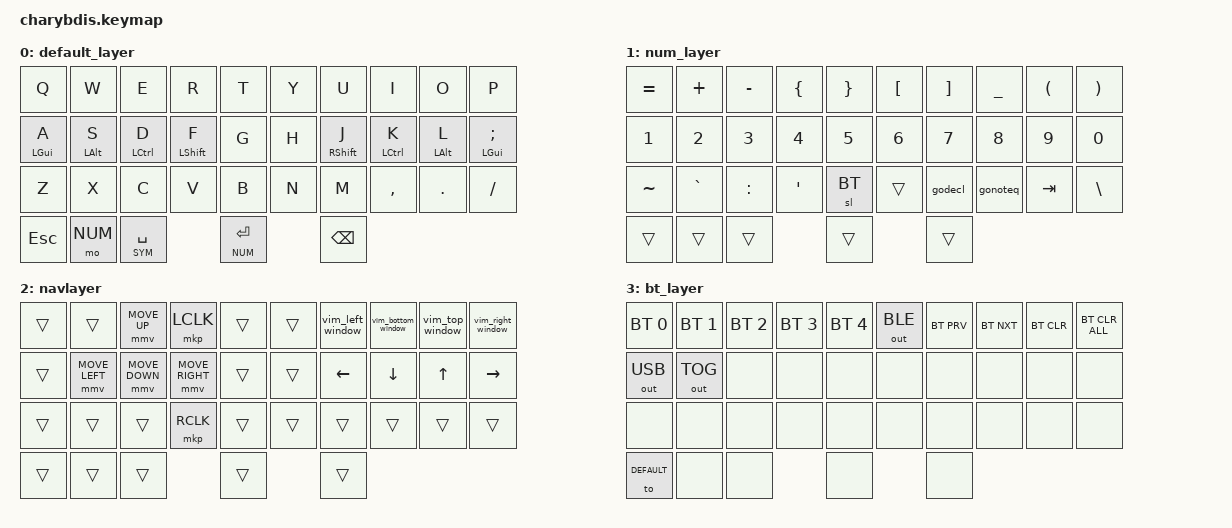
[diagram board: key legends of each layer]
#include <behaviors.dtsi>
#include <dt-bindings/zmk/keys.h>
#include <dt-bindings/zmk/mouse.h>
#include <dt-bindings/zmk/bt.h>
#include <dt-bindings/zmk/outputs.h>

#include "../include/zmk-helpers/key-labels/36.h"
#include "../include/zmk-helpers/helper.h"

#define DEFAULT 0
#define NUM 1
#define SYM 2
#define BT 3

#define QUICK_TAP_MS 175

/* Global defaults */

&sk {
    release-after-ms = <900>;
    quick-release;
};

&sl {
    /* Allow sticky mods to chord across sticky layers. */
    ignore-modifiers;
};

&lt {
    flavor = "balanced";
    tapping-term-ms = <200>;
    quick-tap-ms = <QUICK_TAP_MS>;
};

#define KEYS_L LT0 LT1 LT2 LT3 LT4 LM0 LM1 LM2 LM3 LM4 LB0 LB1 LB2 LB3 LB4
#define KEYS_R RT0 RT1 RT2 RT3 RT4 RM0 RM1 RM2 RM3 RM4 RB0 RB1 RB2 RB3 RB4
#define THUMBS LH2 LH1 LH0 RH0 RH1 RH2

#define MAKE_HRM(NAME, HOLD, TAP, TRIGGER_POS) \
    ZMK_HOLD_TAP(NAME, \
        bindings = <HOLD>, <TAP>; \
        flavor = "balanced"; \
        tapping-term-ms = <280>; \
        quick-tap-ms = <QUICK_TAP_MS>; \
        require-prior-idle-ms = <75>; \
        hold-trigger-on-release; \
        hold-trigger-key-positions = <TRIGGER_POS>; \
    )

MAKE_HRM(hml, &kp, &kp, KEYS_R THUMBS)
MAKE_HRM(hmr, &kp, &kp, KEYS_L THUMBS)

/* Hack: Make HRM combos tap-only. */
#define ZMK_COMBO_8(NAME, TAP, POS, LAYERS, COMBO_MS, IDLE_MS, HOLD, SIDE) \
    MAKE_HRM(hm_combo_##NAME, &kp, TAP, SIDE THUMBS) \
    ZMK_COMBO_6(NAME, &hm_combo_##NAME HOLD 0, POS, LAYERS, COMBO_MS, IDLE_MS)

&caps_word {
    continue-list = <BACKSPACE DELETE>;
};

/ {
    chosen {
        zmk,matrix_transform = &default_transform;
    };

    macros {
        godecl: godecl {
            compatible = "zmk,behavior-macro";
            #binding-cells = <0>;
            bindings = <&kp COLON &kp EQUAL>;
            label = "GODECL";
        };

        gonoteq: gonoteq {
            compatible = "zmk,behavior-macro";
            #binding-cells = <0>;
            bindings = <&kp EXCL &kp EQUAL>;
            label = "GONOTEQ";
        };

        vim_left_window: vim_left_window {
            compatible = "zmk,behavior-macro";
            #binding-cells = <0>;
            bindings =
                <&macro_press &kp LCTRL>,
                <&macro_tap &kp W>,
                <&macro_release &kp LCTRL>,
                <&macro_tap &kp LEFT_ARROW>;
            label = "VIM_LEFT_WINDOW";
        };

        vim_right_window: vim_right_window {
            compatible = "zmk,behavior-macro";
            #binding-cells = <0>;
            bindings =
                <&macro_press &kp LCTRL>,
                <&macro_tap &kp W>,
                <&macro_release &kp LCTRL>,
                <&macro_tap &kp RIGHT_ARROW>;
            label = "VIM_RIGHT_WINDOW";
        };

        vim_top_window: vim_top_window {
            compatible = "zmk,behavior-macro";
            #binding-cells = <0>;
            bindings =
                <&macro_press &kp LCTRL>,
                <&macro_tap &kp W>,
                <&macro_release &kp LCTRL>,
                <&macro_tap &kp UP_ARROW>;
            label = "VIM_TOP_WINDOW";
        };

        vim_bottom_window: vim_bottom_window {
            compatible = "zmk,behavior-macro";
            #binding-cells = <0>;
            bindings =
                <&macro_press &kp LCTRL>,
                <&macro_tap &kp W>,
                <&macro_release &kp LCTRL>,
                <&macro_tap &kp DOWN_ARROW>;
            label = "VIM_BOTTOM_WINDOW";
        };
    };

    keymap {
        compatible = "zmk,keymap";

        default_layer {
            bindings = <
                &kp Q        &kp W        &kp E        &kp R        &kp T        &kp Y        &kp U        &kp I        &kp O        &kp P
                &hml LGUI A  &hml LALT S  &hml LCTRL D &hml LSHFT F &kp G        &kp H        &hmr RSHFT J &hmr LCTRL K &hmr LALT L  &hmr LGUI SEMI
                &kp Z        &kp X        &kp C        &kp V        &kp B        &kp N        &kp M        &kp COMMA    &kp DOT      &kp FSLH
                &kp ESCAPE   &mo NUM      &lt SYM SPACE              &lt NUM ENTER              &kp BACKSPACE
            >;
        };

        num_layer {
            bindings = <
                &kp EQUAL    &kp PLUS     &kp MINUS    &kp LEFT_BRACE &kp RIGHT_BRACE   &kp LEFT_BRACKET &kp RIGHT_BRACKET &kp UNDER &kp LPAR &kp RPAR
                &kp N1       &kp N2       &kp N3       &kp N4         &kp N5            &kp N6           &kp N7            &kp N8    &kp N9   &kp N0
                &kp TILDE    &kp GRAVE    &kp COLON    &kp SQT        &sl BT            &trans           &godecl           &gonoteq  &kp TAB  &kp BACKSLASH
                &trans       &trans       &trans                       &trans                         &trans
            >;
        };

        navlayer {
            bindings = <
                &trans       &trans       &mmv MOVE_UP   &mkp LCLK      &trans       &trans       &vim_left_window &vim_bottom_window &vim_top_window &vim_right_window
                &trans       &mmv MOVE_LEFT &mmv MOVE_DOWN &mmv MOVE_RIGHT &trans     &trans       &kp LEFT_ARROW   &kp DOWN           &kp UP_ARROW    &kp RIGHT
                &trans       &trans       &trans         &mkp RCLK      &trans       &trans       &trans           &trans             &trans          &trans
                &trans       &trans       &trans                         &trans                         &trans
            >;
        };

        bt_layer {
            bindings = <
                &bt BT_SEL 0 &bt BT_SEL 1 &bt BT_SEL 2 &bt BT_SEL 3 &bt BT_SEL 4   &out OUT_BLE &bt BT_PRV &bt BT_NXT &bt BT_CLR &bt BT_CLR_ALL
                &out OUT_USB &out OUT_TOG &none        &none        &none          &none        &none      &none      &none      &none
                &none        &none        &none        &none        &none          &none        &none      &none      &none      &none
                &to DEFAULT  &none        &none                      &none                      &none
            >;
        };
    };
};
